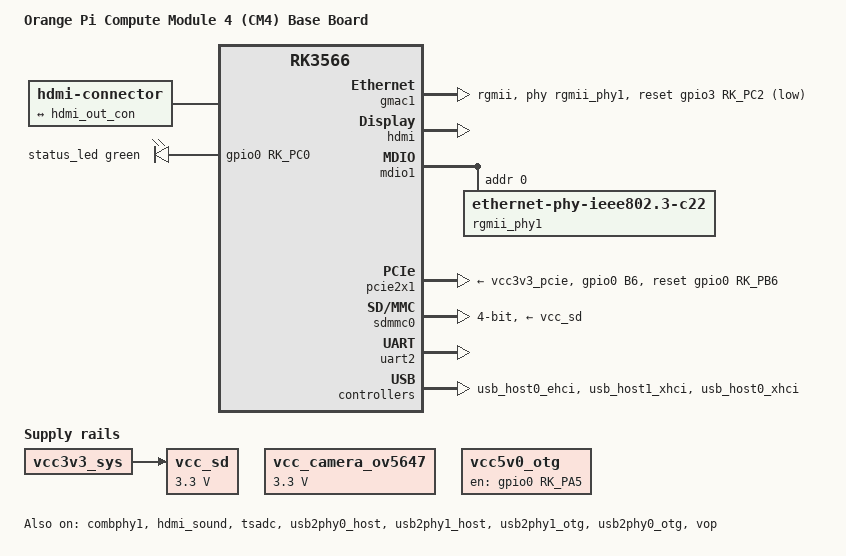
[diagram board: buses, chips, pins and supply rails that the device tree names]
// SPDX-License-Identifier: (GPL-2.0+ OR MIT)
/*
 * Copyright (c) 2022 Radxa Limited
 * Copyright (c) 2022 Amarula Solutions(India)
 */

/dts-v1/;
#include <dt-bindings/soc/rockchip,vop2.h>
#include "rk3566.dtsi"
#include "rk3566-orangepi-cm4.dtsi"

/ {
	model = "Orange Pi Compute Module 4 (CM4) Base Board";
	compatible = "orangepi,cm4-base", "orangepi,cm4", "rockchip,rk3566";

	aliases {
		mmc1 = &sdmmc0;
	};

	chosen: chosen {
		stdout-path = "serial2:1500000n8";
	};

  /* TBD: opi dts defines no external gmac clock
	gmac1_clkin: external-gmac1-clock {
		compatible = "fixed-clock";
		clock-frequency = <125000000>;
		clock-output-names = "gmac1_clkin";
		#clock-cells = <0>;
	};
  */

	hdmi-con {
		compatible = "hdmi-connector";
		type = "d";

		port {
			hdmi_con_in: endpoint {
				remote-endpoint = <&hdmi_out_con>;
			};
		};
	};

  leds: leds {
		compatible = "gpio-leds";

		led-1 {
			gpios = <&gpio0 RK_PC0 GPIO_ACTIVE_HIGH>;
			color = <LED_COLOR_ID_GREEN>;
			function = LED_FUNCTION_ACTIVITY;
			linux,default-trigger = "heartbeat";
			pinctrl-names = "default";
			pinctrl-0 = <&pi_nled_activity>;
			label = "status_led";
		};
	};

	vcc_camera_ov5647: vcc-camera-ov5647 {
		status = "okay";
		compatible = "regulator-fixed";
		regulator-name = "vcc_camera_ov5647";
		regulator-min-microvolt = <3300000>;
		regulator-max-microvolt = <3300000>;
		regulator-always-on;
		regulator-boot-on;
	};

	vcc_sd: vcc-sd {
		compatible = "regulator-fixed";
		regulator-max-microvolt = <3300000>;
		regulator-min-microvolt = <3300000>;
		regulator-name = "vcc_sd";
		vin-supply = <&vcc3v3_sys>;
	};

	vcc5v0_otg: vcc5v0-otg-regulator {
		compatible = "regulator-fixed";
		enable-active-high;
		gpio = <&gpio0 RK_PA5 GPIO_ACTIVE_HIGH>;
		pinctrl-names = "default";
		pinctrl-0 = <&vcc5v0_otg_en>;
		regulator-name = "vcc5v0_otg";
		regulator-always-on;
	};
};

&combphy1 {
	status = "okay";
};

&gmac1 {
	assigned-clocks = <&cru SCLK_GMAC1_RX_TX>, <&cru SCLK_GMAC1>;
	assigned-clock-parents = <&cru SCLK_GMAC1_RGMII_SPEED>, <&cru CLK_MAC1_2TOP>;
	assigned-clock-rates = <0>, <125000000>;
	clock_in_out = "input";
	phy-handle = <&rgmii_phy1>;
	phy-mode = "rgmii";
	pinctrl-names = "default";
	pinctrl-0 = <&gmac1m0_miim
		     &gmac1m0_tx_bus2
		     &gmac1m0_rx_bus2
		     &gmac1m0_rgmii_clk
		     &gmac1m0_clkinout
		     &gmac1m0_rgmii_bus>;
	snps,reset-gpio = <&gpio3 RK_PC2 GPIO_ACTIVE_LOW>;
	snps,reset-active-low;
	/* Reset time is 20ms, 100ms for rtl8211f */
  /* TBD for some reason opi dts has increased delay */
	//snps,reset-delays-us = <0 20000 100000>;
	snps,reset-delays-us = <0 50000 200000>;
  /* opi had different delays than radxa */
	tx_delay = <0x30>;
	rx_delay = <0x10>;
	status = "okay";
};

&hdmi {
  /* TBD
   * in opi dts, supplies are not given
   * there is also somy phy-table given
	avdd-0v9-supply = <&vdda0v9_image>;
	avdd-1v8-supply = <&vcca1v8_image>;
  */
	status = "okay";
};

&hdmi_in {
	hdmi_in_vp0: endpoint {
		remote-endpoint = <&vp0_out_hdmi>;
	};
};

&hdmi_out {
	hdmi_out_con: endpoint {
		remote-endpoint = <&hdmi_con_in>;
	};
};

&hdmi_sound {
	status = "okay";
};

&mdio1 {
	rgmii_phy1: ethernet-phy@0 {
		compatible = "ethernet-phy-ieee802.3-c22";
		reg = <0x0>;
	};
};

&pcie2x1 {
	pinctrl-names = "default";
	pinctrl-0 = <&pcie20_reset_pin>;
	reset-gpios = <&gpio0 RK_PB6 GPIO_ACTIVE_HIGH>;
	vpcie3v3-supply = <&vcc3v3_pcie>;
	status = "okay";
};

&pinctrl {
	headphone {
		hp_det: hp-det {
			rockchip,pins = <0 RK_PC4 RK_FUNC_GPIO &pcfg_pull_down>;
		};
	};

	leds {
		pi_nled_activity: pi-nled-activity {
			rockchip,pins = <0 RK_PC0 RK_FUNC_GPIO &pcfg_pull_none>;
		};
	};

	pcie {
		pcie20_reset_pin: pcie20-reset-pin {
			rockchip,pins = <0 RK_PB6 RK_FUNC_GPIO &pcfg_pull_up>;
		};
	};

	sdcard {
		sdmmc_pwren: sdmmc-pwren {
			rockchip,pins = <0 RK_PB0 RK_FUNC_GPIO &pcfg_pull_none>;
		};
	};

	usb {
    /* it was in opi dts, but is not used? */
		vcc5v0_host_en: vcc5v0-host-en {
			rockchip,pins = <0 RK_PA6 RK_FUNC_GPIO &pcfg_pull_none>;
		};

		vcc5v0_otg_en: vcc5v0-otg-en {
			rockchip,pins = <0 RK_PA5 RK_FUNC_GPIO &pcfg_pull_none>;
		};
	};
};

&sdmmc0 {
	max-frequency = <150000000>;
	no-sdio;
	no-mmc;
	bus-width = <4>;
	cap-mmc-highspeed;
	cap-sd-highspeed;
	disable-wp;
	sd-uhs-sdr104;
	vmmc-supply = <&vcc_sd>;
	vqmmc-supply = <&vccio_sd>;
	pinctrl-names = "default";
	pinctrl-0 = <&sdmmc0_bus4 &sdmmc0_clk &sdmmc0_cmd &sdmmc0_det>;
	status = "okay";
};

&sfc {
	pinctrl-0 = <&fspi_pins>;
	pinctrl-names = "default";
	#address-cells = <1>;
	#size-cells = <0>;
	status = "disabled";

	flash@0 {
		compatible = "jedec,spi-nor";
		reg = <0>;
		spi-max-frequency = <24000000>;
		spi-rx-bus-width = <4>;
		spi-tx-bus-width = <1>;
	};
};

&tsadc {
	status = "okay";
};

&uart2 {
	status = "okay";
};

&usb2phy0_host {
	phy-supply = <&vbus>;
	status = "okay";
};

&usb2phy1_host {
	status = "okay";
};

&usb2phy1_otg {
	status = "okay";
};

&usb_host0_ehci {
	status = "okay";
};

&usb_host1_xhci {
	status = "okay";
};

&usb2phy0_otg {
	status = "okay";
};

&usb_host0_xhci {
	status = "okay";
};

&vop {
	assigned-clocks = <&cru DCLK_VOP0>, <&cru DCLK_VOP1>;
	assigned-clock-parents = <&pmucru PLL_HPLL>, <&cru PLL_VPLL>;
	status = "okay";
};

&vop_mmu {
	status = "okay";
};

&vp0 {
  /* TBD opi dts is quite different */
	vp0_out_hdmi: endpoint@ROCKCHIP_VOP2_EP_HDMI0 {
		reg = <ROCKCHIP_VOP2_EP_HDMI0>;
		remote-endpoint = <&hdmi_in_vp0>;
	};
};
